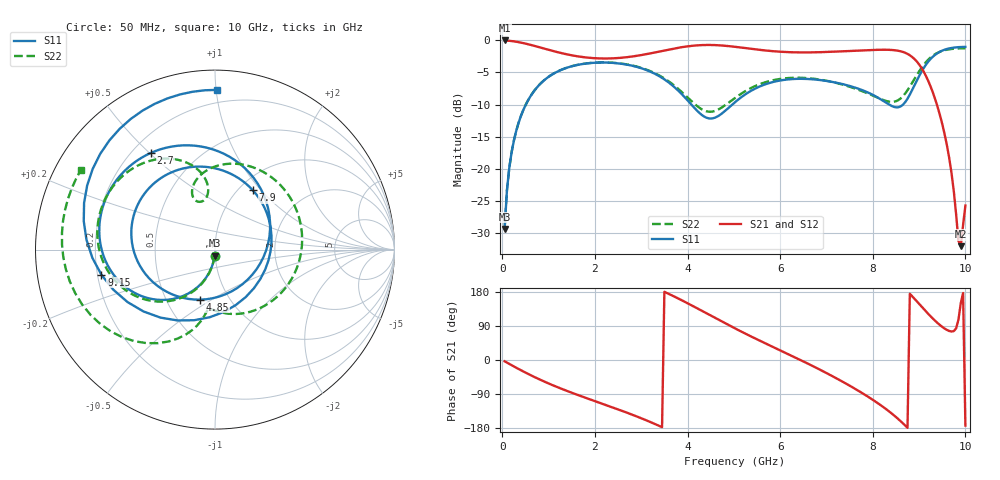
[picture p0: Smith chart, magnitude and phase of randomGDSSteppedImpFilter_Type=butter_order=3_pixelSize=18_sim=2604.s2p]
! freq	dB(S11)	phase(S11)	dB(S12)	phase(S12)
!  dB(S21)	phase(S21)	dB(S22)	phase(S22)
!S-par simulation data
#  GHz  S  DB  R 50
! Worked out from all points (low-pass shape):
!   200 points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, 50 MHz to 10 GHz, reference 50 ohm
!   highest |S21| = -0.01 dB at 50 MHz (marker M1); lowest = -32.1 dB at 9.9 GHz (marker M2)
!   |S21| within 3 dB of the highest: start of sweep to 8.914 GHz
!   lowest |S11| = -29.4 dB at 50 MHz (marker M3), VSWR 1.07, Z = 49.7 - j3.37 ohm
!   |S11| at or under -10 dB: start of sweep to 508.5 MHz; 4.083 GHz to 4.966 GHz (882.9 MHz wide, 19.5 % of centre); 8.352 GHz to 8.654 GHz (301.7 MHz wide, 3.55 % of centre)
!   |S22| runs from -29.4 to -1.2 dB; largest |S21 - S12| = 0
!   S11 on the Smith chart (normalised r, x): 50 MHz: 0.99, -0.07; 2.7 GHz: 0.27, +0.50; 4.85 GHz: 0.73, -0.45; 7.9 GHz: 1.16, +0.90; 9.15 GHz: 0.22, -0.10; 10 GHz: 0.12, +1.01
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0.05  -29.39 -93.6  -0.01 -3.4  -0.01 -3.4  -29.39 -93.4
0.2  -17.48 -104.3  -0.10 -13.7  -0.10 -13.7  -17.48 -103.8
0.5  -10.12 -124.3  -0.50 -33.2  -0.50 -33.2  -10.12 -123.1
1.05  -5.43 -156.4  -1.56 -64.5  -1.56 -64.5  -5.42 -153.6
1.75  -3.66 169.1  -2.61 -97.6  -2.61 -97.6  -3.65 174.8
2.7  -3.79 123.6  -2.61 -139.4  -2.61 -139.4  -3.76 137.3
3.4  -5.61 81.2  -1.72 -174.5  -1.72 -174.5  -5.50 110.9
4.1  -10.14 13.3  -0.84 143.4  -0.84 143.4  -9.56 96.5
4.85  -10.74 -106.3  -0.86 94.4  -0.86 94.4  -9.90 112.7
5.05  -9.48 -129.6  -1.02 81.8  -1.02 81.8  -8.84 110.4
5.9  -6.39 166.3  -1.71 31.2  -1.71 31.2  -6.12 75.0
6.7  -6.06 124.3  -1.86 -15.7  -1.86 -15.7  -5.95 24.9
7.25  -6.65 97.2  -1.73 -50.6  -1.73 -50.6  -6.69 -16.5
7.9  -8.13 57.5  -1.52 -97.1  -1.52 -97.1  -8.29 -67.8
8.35  -9.99 6.7  -1.47 -135.5  -1.47 -135.5  -9.54 -93.0
8.75  -9.08 -82.2  -2.10 -178.9  -2.10 -178.9  -7.76 -101.4
8.95  -6.27 -128.7  -3.28 155.1  -3.28 155.1  -5.40 -112.7
9.15  -3.76 -167.6  -5.57 128.0  -5.57 128.0  -3.37 -131.2
9.35  -2.22 160.4  -9.22 103.0  -9.22 103.0  -2.13 -152.3
9.6  -1.34 128.4  -16.31 79.4  -16.31 79.4  -1.45 -177.2
9.9  -1.03 98.1  -32.07 149.8  -32.07 149.8  -1.23 157.1
10  -1.01 89.2  -25.74 -173.0  -25.74 -173.0  -1.22 149.4
